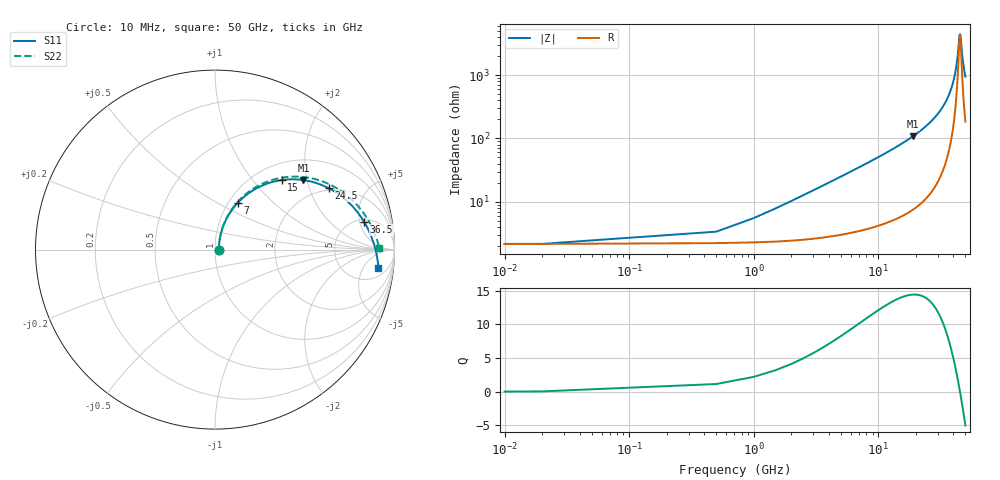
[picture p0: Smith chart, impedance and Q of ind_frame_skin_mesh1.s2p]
! Created with skrf 2.2.0 (http://scikit-rf.org).
# GHz S DB R 50.0
! Port[1] = P1
! Port[2] = P2
!freq dBS11 angS11 dBS21 angS21 dBS12 angS12 dBS22 angS22
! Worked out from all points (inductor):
!   102 points, 10 MHz to 50 GHz, reference 50 ohm
!   read as 1/Y11, port 2 shorted: L = 792 pH near 1.5 GHz
!   highest Q = 14.4 at 19 GHz (marker M1), where L = 906 pH
!   self-resonance near 45 GHz
!   S11 on the Smith chart (normalised r, x): 10 MHz: 1.04, +0.00; 7 GHz: 1.10, +0.63; 15 GHz: 1.31, +1.42; 24.5 GHz: 1.92, +2.73; 36.5 GHz: 5.48, +5.90; 50 GHz: 9, -11
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0.01  -33.51 1.2  -0.19 -0.0  -0.19 -0.0  -33.51 1.2
0.5  -30.16 44.4  -0.19 -1.6  -0.19 -1.6  -30.16 44.5
1  -26.13 60.7  -0.21 -3.1  -0.21 -3.1  -26.13 60.8
1.5  -23.13 66.9  -0.23 -4.6  -0.23 -4.6  -23.13 67.1
2  -20.84 69.6  -0.25 -6.1  -0.25 -6.1  -20.85 69.8
2.5  -19.03 70.6  -0.28 -7.6  -0.28 -7.6  -19.03 70.8
3.5  -16.27 70.4  -0.35 -10.5  -0.35 -10.5  -16.28 70.8
4.5  -14.23 69.1  -0.43 -13.3  -0.43 -13.3  -14.23 69.6
5.5  -12.62 67.2  -0.52 -16.1  -0.52 -16.1  -12.63 67.8
7  -10.73 64.0  -0.68 -20.1  -0.68 -20.1  -10.74 64.8
8.5  -9.26 60.6  -0.87 -24.0  -0.87 -24.0  -9.27 61.6
11.5  -7.11 53.8  -1.31 -31.4  -1.31 -31.4  -7.12 55.1
15  -5.40 46.2  -1.89 -39.3  -1.89 -39.3  -5.41 47.9
17  -4.67 42.1  -2.26 -43.5  -2.26 -43.5  -4.68 44.1
19  -4.06 38.2  -2.64 -47.5  -2.64 -47.5  -4.07 40.4
24.5  -2.85 28.3  -3.73 -57.4  -3.73 -57.4  -2.86 31.3
25.5  -2.68 26.7  -3.93 -59.0  -3.93 -59.0  -2.69 29.8
29.5  -2.13 20.4  -4.75 -65.2  -4.75 -65.2  -2.14 24.0
33.5  -1.71 14.6  -5.58 -70.9  -5.58 -70.9  -1.72 18.8
36.5  -1.46 10.5  -6.21 -74.9  -6.21 -74.9  -1.47 15.1
42  -1.11 3.4  -7.37 -81.7  -7.37 -81.7  -1.12 8.9
50  -0.76 -6.3  -9.13 -90.7  -9.13 -90.7  -0.77 0.6
